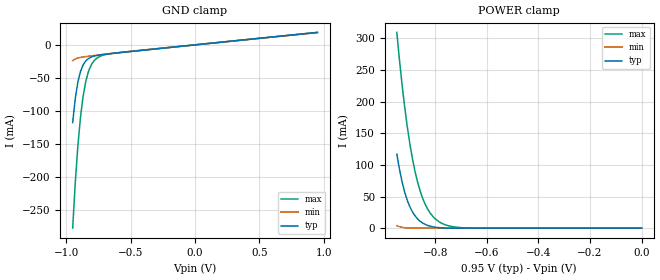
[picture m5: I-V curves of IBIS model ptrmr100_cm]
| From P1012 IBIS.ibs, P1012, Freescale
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[Model]   ptrmr100_cm
Model_type Input
Polarity Non-Inverting
Vinh=0.8
Vinl=0.2
C_comp   861f   858f   865f
[Temperature Range] 65   125   -40
[Voltage Range]   0.95   0.85   1.21
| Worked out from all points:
|   GND clamp passes 1 mA (typ) near -0.05 V on its own axis
|   POWER clamp passes 1 mA (typ) near -0.79 V on its own axis
[GND Clamp]
-950mV    -117.6mA   -23.88mA   -277.3mA
-930mV    -81.21mA   -21.29mA   -209mA
-910mV    -56.51mA   -19.89mA   -153.6mA
-890mV    -40.61mA   -19.02mA   -110.7mA
-870mV    -30.75mA   -18.37mA   -79.18mA
-850mV    -24.75mA   -17.81mA   -56.97mA
-820mV    -19.85mA   -17.05mA   -36.4mA
-800mV    -18.06mA   -16.55mA   -28.36mA
-760mV    -16.04mA   -15.59mA   -19.74mA
-700mV    -14.34mA   -14.19mA   -14.91mA
-600mV    -12.13mA   -11.97mA   -11.98mA
950mV     18.9mA     18.65mA    18.7mA
[POWER Clamp]
-950mV    117mA      3.854mA    309.6mA
-930mV    73.8mA     1.336mA    228mA
-920mV    57.68mA    678.8uA    193.1mA
-900mV    34.27mA    0A         134.7mA
-880mV    19.71mA    0A         90.75mA
-860mV    10.99mA    0A         59.3mA
-840mV    5.915mA    0A         37.75mA
-820mV    3.026mA    0A         23.52mA
-800mV    1.419mA    0A         14.37mA
-750mV    0A         0A         3.804mA
-680mV    0A         0A         301.8uA
0V        0A         0A         0A
